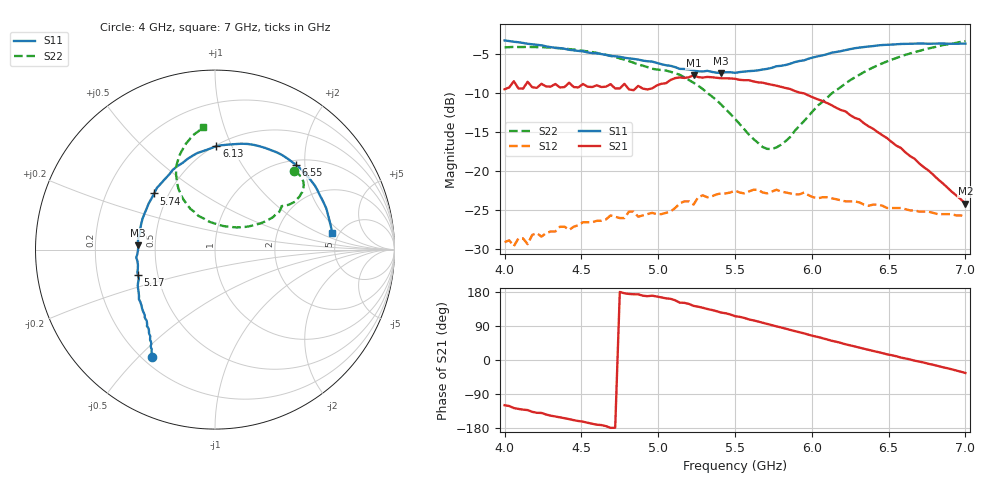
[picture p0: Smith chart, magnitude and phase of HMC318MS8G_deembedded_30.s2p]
!Hittite Microwave Corporation
!12 Elizabeth Drive
!Chelmsford, MA 01824
!Tel: 978-250-3343
!Fax: 978-250-3373
!Device: HMC318MS8G, 5-6 GHz LNA with AGC in 8-lead Grounded Base Surface Mount Plastic Package
!Misc: Room Temp Vdd = +3V Idd = 5.7 mA. Vctl = 3.0 V , DEEMBEDDED TO THE PINS OF THE DEVICE
# MHZ S MA R 50
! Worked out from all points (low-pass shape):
!   101 points, 4 GHz to 7 GHz, reference 50 ohm
!   highest |S21| = -7.68 dB at 5.23 GHz (marker M1); lowest = -24.2 dB at 7 GHz (marker M2)
!   |S21| within 3 dB of the highest: start of sweep to 6.027 GHz
!   lowest |S11| = -7.4 dB at 5.41 GHz (marker M3), VSWR 2.50, Z = 20 + j1.21 ohm
!   |S11| at or under -10 dB: nowhere
!   |S22| runs from -17.1 to -3.3 dB; largest |S21 - S12| = 0.4
!   S11 on the Smith chart (normalised r, x): 4 GHz: 0.24, -0.55; 5.17 GHz: 0.38, -0.14; 5.74 GHz: 0.42, +0.33; 6.13 GHz: 0.51, +0.88; 6.55 GHz: 1.10, +1.80; 7 GHz: 4.40, +1.40
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4000  0.691 -120.4  0.336 -119.3  0.035 131.0  0.624 44.9
4060  0.678 -121.3  0.378 -126.8  0.033 130.5  0.628 43.2
4120  0.666 -122.0  0.339 -130.9  0.037 128.7  0.627 41.7
4150  0.658 -122.4  0.375 -132.2  0.034 122.4  0.628 40.9
4180  0.653 -123.1  0.346 -136.8  0.039 124.6  0.627 40.3
4510  0.588 -128.7  0.363 -162.7  0.047 109.6  0.593 34.4
4840  0.526 -140.1  0.331 173.4  0.055 92.1  0.497 31.2
5020  0.487 -150.9  0.364 165.3  0.053 87.3  0.446 33.0
5170  0.453 -161.7  0.397 150.8  0.064 78.8  0.401 30.2
5230  0.445 -165.3  0.413 142.9  0.061 73.6  0.37 29.2
5290  0.437 -171.6  0.399 137.9  0.07 67.1  0.337 29.2
5410  0.428 176.7  0.395 125.1  0.072 54.7  0.268 31.2
5500  0.428 167.4  0.392 115.6  0.075 49.5  0.217 35.9
5680  0.45 145.2  0.37 98.3  0.073 28.3  0.143 64.2
5740  0.461 137.2  0.359 92.0  0.074 20.4  0.139 78.6
6010  0.538 103.3  0.297 63.4  0.068 -10.4  0.245 119.2
6130  0.577 89.2  0.265 50.7  0.067 -24.2  0.316 122.0
6310  0.622 69.8  0.215 32.7  0.063 -44.0  0.416 120.1
6520  0.65 49.0  0.154 12.7  0.058 -69.7  0.52 114.2
6550  0.653 46.2  0.146 9.9  0.058 -73.4  0.533 113.0
6790  0.659 25.0  0.095 -12.7  0.054 -99.7  0.623 103.8
7000  0.659 7.8  0.062 -34.2  0.051 -120.8  0.684 95.6
